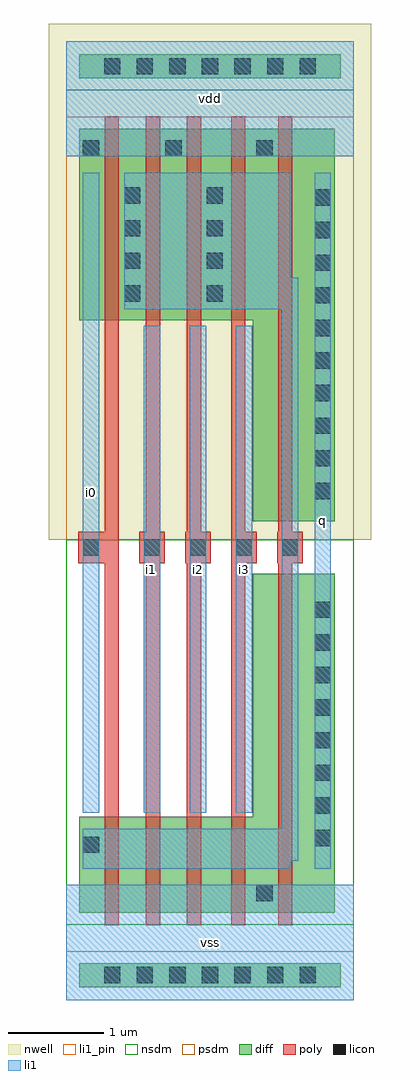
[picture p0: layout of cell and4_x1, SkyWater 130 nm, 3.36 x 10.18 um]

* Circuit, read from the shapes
.subckt and4_x1 i0 i1 i2 i3 q vdd vss
XM1 n1 i0 n2 VSUBS sky130_fd_pr__nfet_01v8 w=1 l=0.15
XM2 n3 i1 n1 VSUBS sky130_fd_pr__nfet_01v8 w=1 l=0.15
XM3 n4 i2 n3 VSUBS sky130_fd_pr__nfet_01v8 w=1 l=0.15
XM4 vss i3 n4 VSUBS sky130_fd_pr__nfet_01v8 w=1 l=0.15
XM5 q n2 vss VSUBS sky130_fd_pr__nfet_01v8 w=3.535 l=0.15
XM6 n2 i0 vdd n5 sky130_fd_pr__pfet_01v8 w=2 l=0.15
XM7 vdd i1 n2 n5 sky130_fd_pr__pfet_01v8 w=2 l=0.15
XM8 n2 i2 vdd n5 sky130_fd_pr__pfet_01v8 w=2 l=0.15
XM9 vdd i3 n2 n5 sky130_fd_pr__pfet_01v8 w=2 l=0.15
XM10 q n2 vdd n5 sky130_fd_pr__pfet_01v8 w=4.095 l=0.15
.ends

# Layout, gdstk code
import gdstk
lib = gdstk.Library(unit=1e-6, precision=1e-09)
def R(c, l, rs):  # rectangles x0, y0, x1, y1
    for r in rs: c.add(gdstk.rectangle(r[:2], r[2:], *l))
def A(c, l, x, y, w, h, nx, ny, dx, dy):  # array of equal rectangles
    R(c, l, [(x+i*dx, y+j*dy, x+i*dx+w, y+j*dy+h) for i in range(nx) for j in range(ny)])
def P(c, l, *ps):  # polygons
    for p in ps: c.add(gdstk.Polygon(p, *l))
nwell = (64, 20)
diff = (65, 20)
poly = (66, 20)
licon = (66, 44)
li1_pin = (67, 16)
li1 = (67, 20)
nsdm = (93, 44)
psdm = (94, 20)

and4_x1 = lib.new_cell('and4_x1')
R(and4_x1, nwell, [(-0.18,4.8,3.18,10.18)])
R(and4_x1, diff, [(0.135,0.135,2.865,0.385), (0.135,9.615,2.865,9.865)])
P(and4_x1, diff, [(0.135,0.91),(0.135,1.91),(1.945,1.91),(1.945,4.445),(2.8,4.445),(2.8,0.91)],
  [(1.945,4.995),(1.945,7.09),(0.135,7.09),(0.135,9.09),(2.8,9.09),(2.8,4.995)])
P(and4_x1, poly, [(2.21,0.78),(2.21,4.555),(2.2,4.555),(2.2,4.885),(2.21,4.885),(2.21,9.22),(2.36,9.22),(2.36,4.885),(2.47,4.885),(2.47,4.555),(2.36,4.555),(2.36,0.78)],
  [(0.4,0.78),(0.4,4.555),(0.125,4.555),(0.125,4.885),(0.4,4.885),(0.4,9.22),(0.55,9.22),(0.55,0.78)],
  [(0.83,0.78),(0.83,4.555),(0.76,4.555),(0.76,4.885),(0.83,4.885),(0.83,9.22),(0.98,9.22),(0.98,4.885),(1.03,4.885),(1.03,4.555),(0.98,4.555),(0.98,0.78)],
  [(1.26,0.78),(1.26,4.555),(1.24,4.555),(1.24,4.885),(1.26,4.885),(1.26,9.22),(1.41,9.22),(1.41,4.885),(1.51,4.885),(1.51,4.555),(1.41,4.555),(1.41,0.78)],
  [(1.72,0.78),(1.72,9.22),(1.87,9.22),(1.87,4.885),(1.99,4.885),(1.99,4.555),(1.87,4.555),(1.87,0.78)])
A(and4_x1, licon, 0.395, 0.175, 0.17, 0.17, 7, 2, 0.34, 9.48)
A(and4_x1, licon, 2.59, 1.605, 0.17, 0.17, 1, 8, 0, 0.34)
A(and4_x1, licon, 0.81, 4.635, 0.17, 0.17, 4, 1, 0.48, 0)
A(and4_x1, licon, 2.59, 5.225, 0.17, 0.17, 1, 10, 0, 0.34)
A(and4_x1, licon, 0.605, 7.285, 0.17, 0.17, 1, 4, 0, 0.34)
A(and4_x1, licon, 1.465, 7.285, 0.17, 0.17, 1, 4, 0, 0.34)
R(and4_x1, licon, [(1.985,1.03,2.155,1.2), (0.175,1.535,0.345,1.705), (0.175,4.635,0.345,4.805), (0.175,8.8,0.345,8.97), (1.035,8.8,1.205,8.97), (1.985,8.8,2.155,8.97)])
A(and4_x1, li1_pin, 0.81, 1.955, 0.17, 5.08, 3, 1, 0.48, 0)
R(and4_x1, li1_pin, [(0,0,3,1.2), (2.59,1.37,2.76,8.63), (0.175,1.955,0.345,8.63), (0,8.8,3,10)])
A(and4_x1, li1, 0.81, 1.955, 0.17, 5.08, 3, 1, 0.48, 0)
R(and4_x1, li1, [(0,0,3,1.2), (2.59,1.37,2.76,8.63), (0.175,1.955,0.345,8.63), (0,8.8,3,10)])
P(and4_x1, li1, [(0.175,1.37),(0.175,1.785),(2.25,1.785),(2.25,7.205),(0.605,7.205),(0.605,8.63),(2.335,8.63),(2.335,7.535),(2.42,7.535),(2.42,1.455),(2.335,1.455),(2.335,1.37)])
R(and4_x1, nsdm, [(0,0.785,3,4.8), (0,9.49,3,10)])
R(and4_x1, psdm, [(0,0,3,0.51), (0,4.8,3,9.215)])
and4_x1.add(gdstk.Label('vdd', (1.5,9.4), layer=67, texttype=16))
and4_x1.add(gdstk.Label('vss', (1.5,0.6), layer=67, texttype=16))
and4_x1.add(gdstk.Label('i0', (0.26,5.293), layer=67, texttype=16))
and4_x1.add(gdstk.Label('i1', (0.895,4.495), layer=67, texttype=16))
and4_x1.add(gdstk.Label('i2', (1.375,4.495), layer=67, texttype=16))
and4_x1.add(gdstk.Label('i3', (1.855,4.495), layer=67, texttype=16))
and4_x1.add(gdstk.Label('q', (2.675,5), layer=67, texttype=16))

lib.write_gds('and4_x1.gds')
